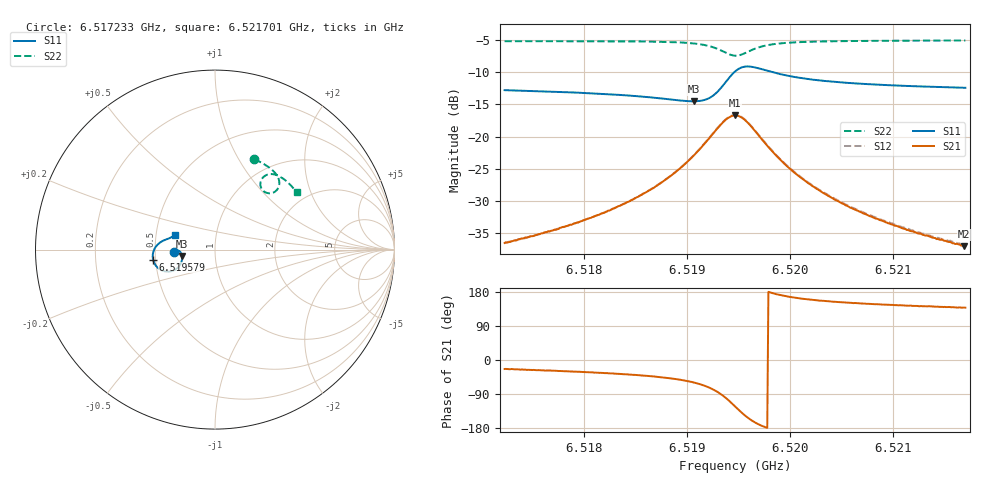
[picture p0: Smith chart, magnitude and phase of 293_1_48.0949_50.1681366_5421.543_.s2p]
#  HZ  S  RI  R  50.00
! Rohde & Schwarz Vector Network Analyzer
! Rohde-Schwarz,ZNB20-2Port,1311601062101988,3.16
! Created: UTC 12/23/2023, 4:03:59 AM
! freq[Hz]  re:S11  im:S11  re:S21  im:S21  re:S12  im:S12  re:S22  im:S22
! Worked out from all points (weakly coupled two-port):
!   401 points, 6.517233 GHz to 6.521701 GHz, reference 50 ohm
!   highest |S21| = -16.71 dB at 6.519467 GHz (marker M1); lowest = -37.0 dB at 6.52169 GHz (marker M2)
!   lowest |S11| = -14.5 dB at 6.519065 GHz (marker M3), VSWR 1.46, Z = 34.4 - j2.5 ohm
!   |S11| at or under -10 dB: start of sweep to 6.519461 GHz; 6.519828 GHz to end of sweep
!   |S22| runs from -7.5 to -5.1 dB; largest |S21 - S12| = 0.0045
!   S11 on the Smith chart (normalised r, x): 6.517233 GHz: 0.63, -0.02; 6.519579 GHz: 0.48, -0.06; 6.521701 GHz: 0.63, +0.11
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6.5172332e9  -0.2288 -0.0121  0.0137 -0.00605  0.014 -0.00553  0.2199 0.5028
6.5176576e9  -0.2235 -0.00629  0.0164 -0.00857  0.0166 -0.00804  0.2509 0.4883
6.5179816e9  -0.2183 -0.00306  0.0189 -0.0115  0.0193 -0.0111  0.275 0.4752
6.5183501e9  -0.2104 -0.00182  0.0233 -0.0173  0.0239 -0.0167  0.3027 0.4569
6.5187299e9  -0.1983 -0.00781  0.0303 -0.0303  0.0314 -0.0293  0.3322 0.4307
6.5188974e9  -0.1911 -0.0166  0.0342 -0.0414  0.0355 -0.0405  0.3452 0.4137
6.519065e9  -0.1844 -0.0351  0.0364 -0.061  0.0385 -0.0603  0.3564 0.389
6.5191655e9  -0.1838 -0.0548  0.0334 -0.0802  0.0362 -0.0797  0.3586 0.3678
6.5192437e9  -0.1899 -0.0769  0.0247 -0.1001  0.0278 -0.1001  0.354 0.3473
6.5193777e9  -0.2369 -0.1187  -0.0236 -0.1332  -0.0199 -0.135  0.3166 0.315
6.5194671e9  -0.2979 -0.1149  -0.078 -0.1235  -0.075 -0.1267  0.2741 0.3232
6.5195229e9  -0.3297 -0.0892  -0.1033 -0.0974  -0.1013 -0.1011  0.2564 0.3455
6.5195787e9  -0.3451 -0.0554  -0.113 -0.0661  -0.1121 -0.07  0.253 0.3714
6.5196904e9  -0.3392 -0.000194  -0.1017 -0.0198  -0.1021 -0.0228  0.2725 0.4067
6.5198021e9  -0.3188 0.0286  -0.0811 0.00171  -0.082 -0.00063  0.2984 0.4192
6.519992e9  -0.2909 0.0487  -0.0556 0.013  -0.0565 0.0116  0.3326 0.4186
6.5202154e9  -0.2706 0.0572  -0.0386 0.015  -0.0396 0.014  0.3596 0.4079
6.5205616e9  -0.2528 0.0639  -0.0254 0.0138  -0.0261 0.0133  0.3896 0.388
6.5209637e9  -0.2404 0.0696  -0.0175 0.012  -0.0183 0.0117  0.4164 0.3639
6.5213435e9  -0.2319 0.0746  -0.0133 0.0104  -0.0137 0.0105  0.4377 0.3407
6.5216897e9  -0.2256 0.0792  -0.0106 0.00939  -0.011 0.00946  0.4551 0.3193
6.5217009e9  -0.2255 0.0793  -0.0107 0.00958  -0.0109 0.00945  0.4558 0.3185
